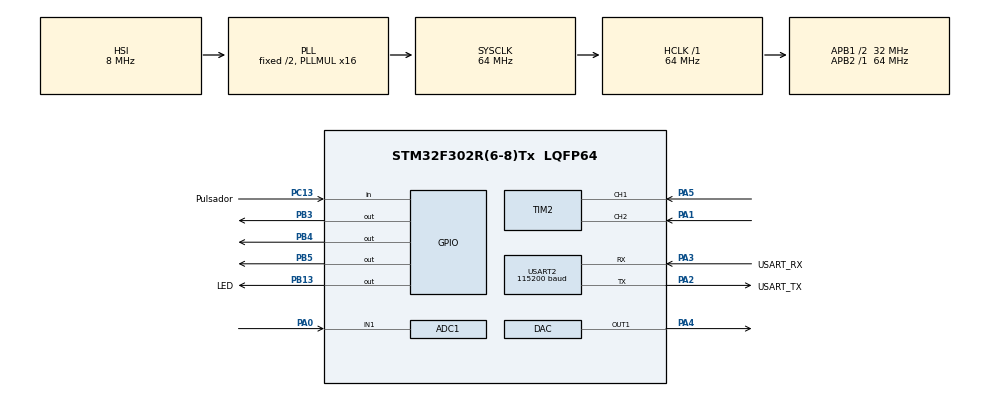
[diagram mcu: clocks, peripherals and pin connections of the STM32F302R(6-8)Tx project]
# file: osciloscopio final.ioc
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ADC1.Channel-0\#ChannelRegularConversion=ADC_CHANNEL_1
ADC1.ContinuousConvMode=ENABLE
ADC1.DMAContinuousRequests=ENABLE
ADC1.NbrOfConversionFlag=1
ADC1.Offset-0\#ChannelRegularConversion=0
ADC1.OffsetNumber-0\#ChannelRegularConversion=ADC_OFFSET_NONE
ADC1.Rank-0\#ChannelRegularConversion=1
ADC1.SamplingTime-0\#ChannelRegularConversion=ADC_SAMPLETIME_601CYCLES_5
ADC1.SamplingTimeOPAMP-0\#ChannelRegularConversion=ADC_SAMPLETIME_61CYCLES_5
ADC1.SubFamily=STM32F302x8
ADC1.master=1
DAC.DAC_Trigger=DAC_TRIGGER_T15_TRGO
Dma.ADC1.0.Direction=DMA_PERIPH_TO_MEMORY
Dma.ADC1.0.Instance=DMA1_Channel1
Dma.ADC1.0.MemDataAlignment=DMA_MDATAALIGN_WORD
Dma.ADC1.0.MemInc=DMA_MINC_ENABLE
Dma.ADC1.0.Mode=DMA_CIRCULAR
Dma.ADC1.0.PeriphDataAlignment=DMA_PDATAALIGN_WORD
Dma.ADC1.0.PeriphInc=DMA_PINC_DISABLE
Dma.ADC1.0.Priority=DMA_PRIORITY_LOW
Dma.DAC_CH1.1.Direction=DMA_MEMORY_TO_PERIPH
Dma.DAC_CH1.1.Instance=DMA1_Channel3
Dma.DAC_CH1.1.MemDataAlignment=DMA_MDATAALIGN_WORD
Dma.DAC_CH1.1.MemInc=DMA_MINC_ENABLE
Dma.DAC_CH1.1.Mode=DMA_CIRCULAR
Dma.DAC_CH1.1.PeriphDataAlignment=DMA_PDATAALIGN_WORD
Dma.DAC_CH1.1.PeriphInc=DMA_PINC_DISABLE
Dma.DAC_CH1.1.Priority=DMA_PRIORITY_LOW
Dma.Request0=ADC1
Dma.Request1=DAC_CH1
Mcu.Family=STM32F3
Mcu.Name=STM32F302R(6-8)Tx
Mcu.Package=LQFP64
NVIC.DMA1_Channel1_IRQn=true\:0\:0\:false\:false\:true\:false\:true\:true
NVIC.DMA1_Channel3_IRQn=true\:0\:0\:false\:false\:true\:false\:true\:true
NVIC.PriorityGroup=NVIC_PRIORITYGROUP_0
NVIC.TIM1_BRK_TIM15_IRQn=true\:0\:0\:false\:false\:true\:true\:true\:true
NVIC.TIM2_IRQn=true\:0\:0\:false\:false\:true\:true\:true\:true
PA0.Mode=IN1-Single-Ended
PA0.Signal=ADC1_IN1
PA1.Signal=S_TIM2_CH2
PA13.GPIO_Label=TMS
PA13.Mode=Serial_Wire
PA13.Signal=SYS_JTMS-SWDIO
PA14.GPIO_Label=TCK
PA14.Mode=Serial_Wire
PA14.Signal=SYS_JTCK-SWCLK
PA2.GPIO_Label=USART_TX
PA2.GPIO_Mode=GPIO_MODE_AF_PP
PA2.GPIO_PuPd=GPIO_NOPULL
PA2.GPIO_Speed=GPIO_SPEED_FREQ_LOW
PA2.Mode=Asynchronous
PA2.Signal=USART2_TX
PA3.GPIO_Label=USART_RX
PA3.GPIO_Mode=GPIO_MODE_AF_PP
PA3.GPIO_PuPd=GPIO_NOPULL
PA3.GPIO_Speed=GPIO_SPEED_FREQ_LOW
PA3.Mode=Asynchronous
PA3.Signal=USART2_RX
PA4.Signal=COMP_DAC1_group
PA5.Signal=S_TIM2_CH1_ETR
PB13.GPIO_Label=LED
PB13.Signal=GPIO_Output
PB3.Signal=GPIO_Output
PB4.Signal=GPIO_Output
PB5.Signal=GPIO_Output
PC13.GPIO_Label=Pulsador
PC13.GPIO_PuPd=GPIO_PULLUP
PC13.Signal=GPIO_Input
PC14\ -\ OSC32_IN.Signal=RCC_OSC32_IN
PC15\ -\ OSC32_OUT.Signal=RCC_OSC32_OUT
PF0-OSC_IN.Mode=HSE-External-Oscillator
PF0-OSC_IN.Signal=RCC_OSC_IN
PF1-OSC_OUT.Mode=HSE-External-Oscillator
PF1-OSC_OUT.Signal=RCC_OSC_OUT
ProjectManager.HeapSize=0x200
ProjectManager.StackSize=0x400
ProjectManager.TargetToolchain=STM32CubeIDE
RCC.AHBFreq_Value=64000000
RCC.APB1CLKDivider=RCC_HCLK_DIV2
RCC.APB1Freq_Value=32000000
RCC.APB1TimFreq_Value=64000000
RCC.APB2Freq_Value=64000000
RCC.APB2TimFreq_Value=64000000
RCC.CortexFreq_Value=64000000
RCC.HCLKFreq_Value=64000000
RCC.HSE_VALUE=8000000
RCC.HSI_VALUE=8000000
RCC.LSE_VALUE=32768
RCC.PLLM=8
RCC.PLLMUL=RCC_PLL_MUL16
RCC.PLLN=336
RCC.PLLP=RCC_PLLP_DIV4
RCC.PLLQ=7
RCC.RCC_PLLsource_Clock_Source_FROM_HSE=RCC_HSE_PREDIV_DIV2
RCC.SYSCLKFreq_VALUE=64000000
RCC.SYSCLKSourceVirtual=RCC_SYSCLKSOURCE_PLLCLK
RCC.USBFreq_Value=64000000
SH.COMP_DAC1_group.0=DAC_OUT1,DAC_OUT1
SH.S_TIM2_CH1_ETR.0=TIM2_CH1,Encoder_Interface
SH.S_TIM2_CH2.0=TIM2_CH2,Encoder_Interface
TIM15.Period=100
TIM15.Prescaler=72-1
TIM15.TIM_MasterOutputTrigger=TIM_TRGO_UPDATE
TIM2.EncoderMode=TIM_ENCODERMODE_TI12
TIM2.IC1Polarity=TIM_ICPOLARITY_FALLING
TIM2.IC2Polarity=TIM_ICPOLARITY_FALLING
USART2.BaudRate=115200
USART2.VirtualMode-Asynchronous=VM_ASYNC
VP_TIM15_VS_ClockSourceINT.Mode=Internal
board=NUCLEO-F302R8

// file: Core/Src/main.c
/* USER CODE BEGIN Header */
/**
 ******************************************************************************
 * @file           : main.c
 * @brief          : Main program body
 ******************************************************************************
 * @attention
 *
 * Copyright (c) 2023 STMicroelectronics.
 * All rights reserved.
 *
 * This software is licensed under terms that can be found in the LICENSE file
 * in the root directory of this software component.
 * If no LICENSE file comes with this software, it is provided AS-IS.
 *
 ******************************************************************************
 */
/* USER CODE END Header */
#include "main.h"

/* USER CODE BEGIN Includes */
#include "matriztarea1.h"
#include<math.h>
#include<stdio.h>
#include<string.h>
#include "stdbool.h"
/* USER CODE END Includes */

ADC_HandleTypeDef hadc1;
DMA_HandleTypeDef hdma_adc1;

DAC_HandleTypeDef hdac;
DMA_HandleTypeDef hdma_dac_ch1;

TIM_HandleTypeDef htim2;
TIM_HandleTypeDef htim15;

UART_HandleTypeDef huart2;

/* USER CODE BEGIN PV */
uint32_t VALOR_ADC;
char val[10];
int matris_on[8][8];
int wave = 0;
/* USER CODE END PV */

void SystemClock_Config(void);
static void MX_GPIO_Init(void);
static void MX_DMA_Init(void);
static void MX_USART2_UART_Init(void);
static void MX_ADC1_Init(void);
static void MX_TIM2_Init(void);
static void MX_DAC_Init(void);
static void MX_TIM15_Init(void);

/* USER CODE BEGIN 0 */
uint32_t counter = 0;
//uint32_t counterr = 0;
int16_t count = 0;
//int16_t countt = 0;
int16_t Position_time = 0;
int16_t Position_volt = 0;
int8_t Stat;
GPIO_PinState estpul;
bool ctrl = false;
//uint32_t sine_val[100];
//int16_t contador = 0;
//////////////////////////////////////////
void button() {
	estpul = HAL_GPIO_ReadPin(Pulsador_GPIO_Port, Pulsador_Pin);

	if (estpul && !ctrl) {
		ctrl = true;
	} else if (!estpul && ctrl) {
		HAL_GPIO_TogglePin(LED_GPIO_Port, LED_Pin);
		ctrl = false;
	}
	if (HAL_GPIO_ReadPin(LED_GPIO_Port, LED_Pin) == GPIO_PIN_SET) {
		Stat = 1; // Establecer Stat en 1 cuando el pin del LED está activo
	} else {
		Stat = 0; // Establecer Stat en 0 cuando el pin del LED está inactivo
	}
}

void HAL_TIM_IC_CaptureCallback(TIM_HandleTypeDef *htim) {

	counter = __HAL_TIM_GET_COUNTER(htim);

	count = (int16_t) counter;
	if (Stat == 1) {
			Position_volt = count / 4;
			if (Position_volt < 0) {
				Position_volt = 0;
				__HAL_TIM_SET_COUNTER(htim, 0);
			}

		} else {
			Position_time = count / 4;
			if (Position_time < 0) {
				Position_time = 0;
				__HAL_TIM_SET_COUNTER(htim, 0);
			}

		}
		button();
	}

/*
void calcsin() {
	for (int i = 0; i < 100; i++) {
		sine_val[i] = ((sin(i * 2 * M_PI / 100) + 1) * (4096 / 2));
	}

void HAL_TIM_PeriodElapsedCallback(TIM_HandleTypeDef *htim) {
	if (htim->Instance == TIM15) {
		// Realizar las operaciones necesarias

		//HAL_GPIO_TogglePin(GPIOB, GPIO_PIN_13);

		  contador += incremento;
		 if (contador >= 9) {
		 contador = 9;
		 incremento = -1;
		 } else if (contador <= -9) {
		 contador = -9;
		 incremento = 1;
		 }

		// sine_val = contador;
		if (contador == 0) {

			contador = 3780;

		} else if (contador == 3780) {

			contador = 0;

		}
		sine_vall = contador;
	}
}
*/
/* USER CODE END 0 */

int main(void)
{

  /* MCU Configuration--------------------------------------------------------*/

  /* Reset of all peripherals, Initializes the Flash interface and the Systick. */
  HAL_Init();

  /* Configure the system clock */
  SystemClock_Config();

  /* Initialize all configured peripherals */
  MX_GPIO_Init();
  MX_DMA_Init();
  MX_USART2_UART_Init();
  MX_ADC1_Init();
  MX_TIM2_Init();
  MX_DAC_Init();
  MX_TIM15_Init();
  /* USER CODE BEGIN 2 */
	HAL_TIM_Encoder_Start_IT(&htim2, TIM_CHANNEL_ALL);
	HAL_ADC_Start_DMA(&hadc1, &VALOR_ADC, 1);
	max_init(0x02);
	button();
	//HAL_TIM_Base_Start(&htim15);
	//HAL_TIM_Base_Start(&htim15);
	//HAL_DAC_Start_DMA(&hdac, DAC_CHANNEL_1, (uint32_t*) sine_val, 100,DAC_ALIGN_12B_R);
	//calcsin();
  /* USER CODE END 2 */

  /* Infinite loop */
  /* USER CODE BEGIN WHILE */
	while (1) {
		button();
		//calcsin();
		sprintf(val, "%u\n", VALOR_ADC);
		uint8_t len = strlen(val);
		HAL_UART_Transmit(&huart2, (uint8_t*) val, len, 100);

		if (VALOR_ADC >= (250-(Position_volt*4)) && VALOR_ADC <= (720-(Position_volt*4))) {

			matris_on[0][wave] = 1;
			HAL_Delay(Position_time);
		}

		else {

			matris_on[0][wave] = 0;
			HAL_Delay(Position_time);
		}
		if (VALOR_ADC >= (720-(Position_volt*4)) && VALOR_ADC <= (1260-(Position_volt*4))) {

			matris_on[1][wave] = 1;
			HAL_Delay(Position_time);
		}

		else {

			matris_on[1][wave] = 0;
			HAL_Delay(Position_time);
		}
		if (VALOR_ADC >= (1260-(Position_volt*4)) && VALOR_ADC <= (1780-(Position_volt*4))) {

			matris_on[2][wave] = 1;
			HAL_Delay(Position_time);
		}

		else {

			matris_on[2][wave] = 0;
			HAL_Delay(Position_time);
		}
		if (VALOR_ADC >= (1780-(Position_volt*4)) && VALOR_ADC <= (2280-(Position_volt*4))) {

			matris_on[3][wave] = 1;
			HAL_Delay(Position_time);
		}

		else {

			matris_on[3][wave] = 0;
			HAL_Delay(Position_time);
		}
		if (VALOR_ADC >= (2280-(Position_volt*4)) && VALOR_ADC <= (2780-(Position_volt*4))) {

			matris_on[4][wave] = 1;
			HAL_Delay(Position_time);
		}

		else {

			matris_on[4][wave] = 0;
			HAL_Delay(Position_time);
		}
		if (VALOR_ADC >= (2780-(Position_volt*4)) && VALOR_ADC <= (3280-(Position_volt*4))) {

			matris_on[5][wave] = 1;
			HAL_Delay(Position_time);
		}

		else {

			matris_on[5][wave] = 0;
			HAL_Delay(Position_time);
		}
		if (VALOR_ADC >= (3280-(Position_volt*4)) && VALOR_ADC <= (3780-(Position_volt*4))) {

			matris_on[6][wave] = 1;
			HAL_Delay(Position_time);
		}

		else {

			matris_on[6][wave] = 0;
			HAL_Delay(Position_time);
		}
		if (VALOR_ADC >= (3780-(Position_volt*4)) && VALOR_ADC <= (4000-(Position_volt*4))) {

			matris_on[7][wave] = 1;
			HAL_Delay(Position_time);
		}

		else {

			matris_on[7][wave] = 0;
			HAL_Delay(Position_time);
		}

		for (int z = 0; z < 8; z++) {

			for (int i = 0; i < 8; i++) {

				if (matris_on[i][z] == 1) {

					setled(i, z, 1);

				} else {
					setled(i, z, 0);

				}

			}
		}

		wave++;
		HAL_Delay(30);
		if (wave > 7) {

			wave = 0;

		}
    /* USER CODE END WHILE */

	}
}

void SystemClock_Config(void)
{
  RCC_OscInitTypeDef RCC_OscInitStruct = {0};
  RCC_ClkInitTypeDef RCC_ClkInitStruct = {0};
  RCC_PeriphCLKInitTypeDef PeriphClkInit = {0};

  /** Initializes the RCC Oscillators according to the specified parameters
  * in the RCC_OscInitTypeDef structure.
  */
  RCC_OscInitStruct.OscillatorType = RCC_OSCILLATORTYPE_HSI;
  RCC_OscInitStruct.HSIState = RCC_HSI_ON;
  RCC_OscInitStruct.HSICalibrationValue = RCC_HSICALIBRATION_DEFAULT;
  RCC_OscInitStruct.PLL.PLLState = RCC_PLL_ON;
  RCC_OscInitStruct.PLL.PLLSource = RCC_PLLSOURCE_HSI;
  RCC_OscInitStruct.PLL.PLLMUL = RCC_PLL_MUL16;
  if (HAL_RCC_OscConfig(&RCC_OscInitStruct) != HAL_OK)
  {
    Error_Handler();
  }

  /** Initializes the CPU, AHB and APB buses clocks
  */
  RCC_ClkInitStruct.ClockType = RCC_CLOCKTYPE_HCLK|RCC_CLOCKTYPE_SYSCLK
                              |RCC_CLOCKTYPE_PCLK1|RCC_CLOCKTYPE_PCLK2;
  RCC_ClkInitStruct.SYSCLKSource = RCC_SYSCLKSOURCE_PLLCLK;
  RCC_ClkInitStruct.AHBCLKDivider = RCC_SYSCLK_DIV1;
  RCC_ClkInitStruct.APB1CLKDivider = RCC_HCLK_DIV2;
  RCC_ClkInitStruct.APB2CLKDivider = RCC_HCLK_DIV1;

  if (HAL_RCC_ClockConfig(&RCC_ClkInitStruct, FLASH_LATENCY_2) != HAL_OK)
  {
    Error_Handler();
  }
  PeriphClkInit.PeriphClockSelection = RCC_PERIPHCLK_TIM15|RCC_PERIPHCLK_ADC1;
  PeriphClkInit.Tim15ClockSelection = RCC_TIM15CLK_HCLK;
  PeriphClkInit.Adc1ClockSelection = RCC_ADC1PLLCLK_DIV1;

  if (HAL_RCCEx_PeriphCLKConfig(&PeriphClkInit) != HAL_OK)
  {
    Error_Handler();
  }
}

static void MX_ADC1_Init(void)
{

  ADC_ChannelConfTypeDef sConfig = {0};

  /** Common config
  */
  hadc1.Instance = ADC1;
  hadc1.Init.ClockPrescaler = ADC_CLOCK_ASYNC_DIV1;
  hadc1.Init.Resolution = ADC_RESOLUTION_12B;
  hadc1.Init.ScanConvMode = ADC_SCAN_DISABLE;
  hadc1.Init.ContinuousConvMode = ENABLE;
  hadc1.Init.DiscontinuousConvMode = DISABLE;
  hadc1.Init.ExternalTrigConvEdge = ADC_EXTERNALTRIGCONVEDGE_NONE;
  hadc1.Init.ExternalTrigConv = ADC_SOFTWARE_START;
  hadc1.Init.DataAlign = ADC_DATAALIGN_RIGHT;
  hadc1.Init.NbrOfConversion = 1;
  hadc1.Init.DMAContinuousRequests = ENABLE;
  hadc1.Init.EOCSelection = ADC_EOC_SINGLE_CONV;
  hadc1.Init.LowPowerAutoWait = DISABLE;
  hadc1.Init.Overrun = ADC_OVR_DATA_OVERWRITTEN;
  if (HAL_ADC_Init(&hadc1) != HAL_OK)
  {
    Error_Handler();
  }

  /** Configure Regular Channel
  */
  sConfig.Channel = ADC_CHANNEL_1;
  sConfig.Rank = ADC_REGULAR_RANK_1;
  sConfig.SingleDiff = ADC_SINGLE_ENDED;
  sConfig.SamplingTime = ADC_SAMPLETIME_601CYCLES_5;
  sConfig.OffsetNumber = ADC_OFFSET_NONE;
  sConfig.Offset = 0;
  if (HAL_ADC_ConfigChannel(&hadc1, &sConfig) != HAL_OK)
  {
    Error_Handler();
  }

}

static void MX_DAC_Init(void)
{

  DAC_ChannelConfTypeDef sConfig = {0};

  /** DAC Initialization
  */
  hdac.Instance = DAC;
  if (HAL_DAC_Init(&hdac) != HAL_OK)
  {
    Error_Handler();
  }

  /** DAC channel OUT1 config
  */
  sConfig.DAC_Trigger = DAC_TRIGGER_T15_TRGO;
  sConfig.DAC_OutputBuffer = DAC_OUTPUTBUFFER_ENABLE;
  if (HAL_DAC_ConfigChannel(&hdac, &sConfig, DAC_CHANNEL_1) != HAL_OK)
  {
    Error_Handler();
  }

}

static void MX_TIM2_Init(void)
{

  TIM_Encoder_InitTypeDef sConfig = {0};
  TIM_MasterConfigTypeDef sMasterConfig = {0};

  htim2.Instance = TIM2;
  htim2.Init.Prescaler = 0;
  htim2.Init.CounterMode = TIM_COUNTERMODE_UP;
  htim2.Init.Period = 4294967295;
  htim2.Init.ClockDivision = TIM_CLOCKDIVISION_DIV1;
  htim2.Init.AutoReloadPreload = TIM_AUTORELOAD_PRELOAD_DISABLE;
  sConfig.EncoderMode = TIM_ENCODERMODE_TI12;
  sConfig.IC1Polarity = TIM_ICPOLARITY_FALLING;
  sConfig.IC1Selection = TIM_ICSELECTION_DIRECTTI;
  sConfig.IC1Prescaler = TIM_ICPSC_DIV1;
  sConfig.IC1Filter = 0;
  sConfig.IC2Polarity = TIM_ICPOLARITY_FALLING;
  sConfig.IC2Selection = TIM_ICSELECTION_DIRECTTI;
  sConfig.IC2Prescaler = TIM_ICPSC_DIV1;
  sConfig.IC2Filter = 0;
  if (HAL_TIM_Encoder_Init(&htim2, &sConfig) != HAL_OK)
  {
    Error_Handler();
  }
  sMasterConfig.MasterOutputTrigger = TIM_TRGO_RESET;
  sMasterConfig.MasterSlaveMode = TIM_MASTERSLAVEMODE_DISABLE;
  if (HAL_TIMEx_MasterConfigSynchronization(&htim2, &sMasterConfig) != HAL_OK)
  {
    Error_Handler();
  }

}

static void MX_TIM15_Init(void)
{

  TIM_ClockConfigTypeDef sClockSourceConfig = {0};
  TIM_MasterConfigTypeDef sMasterConfig = {0};

  htim15.Instance = TIM15;
  htim15.Init.Prescaler = 72-1;
  htim15.Init.CounterMode = TIM_COUNTERMODE_UP;
  htim15.Init.Period = 100;
  htim15.Init.ClockDivision = TIM_CLOCKDIVISION_DIV1;
  htim15.Init.RepetitionCounter = 0;
  htim15.Init.AutoReloadPreload = TIM_AUTORELOAD_PRELOAD_DISABLE;
  if (HAL_TIM_Base_Init(&htim15) != HAL_OK)
  {
    Error_Handler();
  }
  sClockSourceConfig.ClockSource = TIM_CLOCKSOURCE_INTERNAL;
  if (HAL_TIM_ConfigClockSource(&htim15, &sClockSourceConfig) != HAL_OK)
  {
    Error_Handler();
  }
  sMasterConfig.MasterOutputTrigger = TIM_TRGO_UPDATE;
  sMasterConfig.MasterSlaveMode = TIM_MASTERSLAVEMODE_DISABLE;
  if (HAL_TIMEx_MasterConfigSynchronization(&htim15, &sMasterConfig) != HAL_OK)
  {
    Error_Handler();
  }

}

static void MX_USART2_UART_Init(void)
{

  huart2.Instance = USART2;
  huart2.Init.BaudRate = 115200;
  huart2.Init.WordLength = UART_WORDLENGTH_8B;
  huart2.Init.StopBits = UART_STOPBITS_1;
  huart2.Init.Parity = UART_PARITY_NONE;
  huart2.Init.Mode = UART_MODE_TX_RX;
  huart2.Init.HwFlowCtl = UART_HWCONTROL_NONE;
  huart2.Init.OverSampling = UART_OVERSAMPLING_16;
  huart2.Init.OneBitSampling = UART_ONE_BIT_SAMPLE_DISABLE;
  huart2.AdvancedInit.AdvFeatureInit = UART_ADVFEATURE_NO_INIT;
  if (HAL_UART_Init(&huart2) != HAL_OK)
  {
    Error_Handler();
  }

}

static void MX_DMA_Init(void)
{

  /* DMA controller clock enable */
  __HAL_RCC_DMA1_CLK_ENABLE();

  /* DMA interrupt init */
  /* DMA1_Channel1_IRQn interrupt configuration */
  HAL_NVIC_SetPriority(DMA1_Channel1_IRQn, 0, 0);
  HAL_NVIC_EnableIRQ(DMA1_Channel1_IRQn);
  /* DMA1_Channel3_IRQn interrupt configuration */
  HAL_NVIC_SetPriority(DMA1_Channel3_IRQn, 0, 0);
  HAL_NVIC_EnableIRQ(DMA1_Channel3_IRQn);

}

static void MX_GPIO_Init(void)
{
  GPIO_InitTypeDef GPIO_InitStruct = {0};

  /* GPIO Ports Clock Enable */
  __HAL_RCC_GPIOC_CLK_ENABLE();
  __HAL_RCC_GPIOF_CLK_ENABLE();
  __HAL_RCC_GPIOA_CLK_ENABLE();
  __HAL_RCC_GPIOB_CLK_ENABLE();

  /*Configure GPIO pin Output Level */
  HAL_GPIO_WritePin(GPIOB, LED_Pin|GPIO_PIN_3|GPIO_PIN_4|GPIO_PIN_5, GPIO_PIN_RESET);

  /*Configure GPIO pin : Pulsador_Pin */
  GPIO_InitStruct.Pin = Pulsador_Pin;
  GPIO_InitStruct.Mode = GPIO_MODE_INPUT;
  GPIO_InitStruct.Pull = GPIO_PULLUP;
  HAL_GPIO_Init(Pulsador_GPIO_Port, &GPIO_InitStruct);

  /*Configure GPIO pins : LED_Pin PB3 PB4 PB5 */
  GPIO_InitStruct.Pin = LED_Pin|GPIO_PIN_3|GPIO_PIN_4|GPIO_PIN_5;
  GPIO_InitStruct.Mode = GPIO_MODE_OUTPUT_PP;
  GPIO_InitStruct.Pull = GPIO_NOPULL;
  GPIO_InitStruct.Speed = GPIO_SPEED_FREQ_LOW;
  HAL_GPIO_Init(GPIOB, &GPIO_InitStruct);

}

void Error_Handler(void)
{
	__disable_irq();
	while (1) {
	}
}
